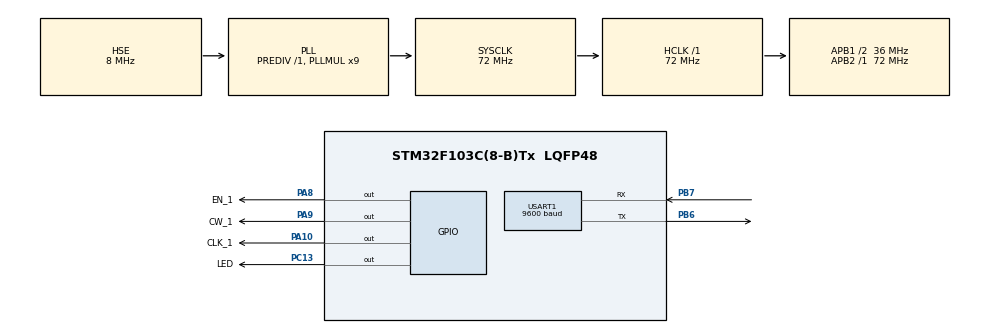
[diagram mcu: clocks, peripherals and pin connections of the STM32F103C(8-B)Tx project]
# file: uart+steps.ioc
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Mcu.Family=STM32F1
Mcu.Name=STM32F103C(8-B)Tx
Mcu.Package=LQFP48
NVIC.PriorityGroup=NVIC_PRIORITYGROUP_4
NVIC.USART1_IRQn=true\:0\:0\:false\:false\:true\:true\:true\:true
PA10.GPIO_Label=CLK_1
PA10.Signal=GPIO_Output
PA8.GPIO_Label=EN_1
PA8.Signal=GPIO_Output
PA9.GPIO_Label=CW_1
PA9.Signal=GPIO_Output
PB6.Mode=Asynchronous
PB6.Signal=USART1_TX
PB7.Mode=Asynchronous
PB7.Signal=USART1_RX
PC13-TAMPER-RTC.GPIO_Label=LED
PC13-TAMPER-RTC.Signal=GPIO_Output
PD0-OSC_IN.Mode=HSE-External-Oscillator
PD0-OSC_IN.Signal=RCC_OSC_IN
PD1-OSC_OUT.Mode=HSE-External-Oscillator
PD1-OSC_OUT.Signal=RCC_OSC_OUT
ProjectManager.HeapSize=0x200
ProjectManager.StackSize=0x400
ProjectManager.TargetToolchain=TrueSTUDIO
RCC.AHBFreq_Value=72000000
RCC.APB1CLKDivider=RCC_HCLK_DIV2
RCC.APB1Freq_Value=36000000
RCC.APB1TimFreq_Value=72000000
RCC.APB2Freq_Value=72000000
RCC.APB2TimFreq_Value=72000000
RCC.HCLKFreq_Value=72000000
RCC.PLLMUL=RCC_PLL_MUL9
RCC.PLLSourceVirtual=RCC_PLLSOURCE_HSE
RCC.SYSCLKFreq_VALUE=72000000
RCC.SYSCLKSource=RCC_SYSCLKSOURCE_PLLCLK
RCC.USBFreq_Value=72000000
USART1.BaudRate=9600
USART1.Parity=PARITY_EVEN
USART1.VirtualMode=VM_ASYNC
USART1.WordLength=WORDLENGTH_9B
VP_SYS_VS_ND.Mode=No_Debug
board=custom

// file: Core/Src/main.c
/* USER CODE BEGIN Header */
/**
  ******************************************************************************
  * @file           : main.c
  * @brief          : Main program body
  ******************************************************************************
  * @attention
  *
  * Copyright (c) 2022 STMicroelectronics.
  * All rights reserved.
  *
  * This software is licensed under terms that can be found in the LICENSE file
  * in the root directory of this software component.
  * If no LICENSE file comes with this software, it is provided AS-IS.
  *
  ******************************************************************************
  */
/* USER CODE END Header */
#include "main.h"

 UART_HandleTypeDef huart1;

/* USER CODE BEGIN PV */
uint8_t RxData[2];
/* USER CODE END PV */

void SystemClock_Config(void);
static void MX_GPIO_Init(void);
static void MX_USART1_UART_Init(void);

/* USER CODE BEGIN 0 */
void Stepper_motor(uint8_t Direction, uint8_t Steps)
{
	HAL_GPIO_WritePin(GPIOA,CW_1_Pin,GPIO_PIN_RESET);
	switch(Direction)
	{
	case 1:
		HAL_GPIO_WritePin(GPIOA,CW_1_Pin,GPIO_PIN_SET);
		break;
	default:
		HAL_GPIO_WritePin(GPIOA,CW_1_Pin,GPIO_PIN_RESET);
	}
	for (int i=0;i<=8*Steps;i=i+1)
	{
		HAL_GPIO_TogglePin(GPIOA,CLK_1_Pin);
		HAL_Delay(3);
	}
	HAL_GPIO_WritePin(GPIOA,CLK_1_Pin,GPIO_PIN_RESET);
	HAL_GPIO_WritePin(GPIOA,EN_1_Pin,GPIO_PIN_RESET);
}
/* USER CODE END 0 */

int main(void)
{

  /* MCU Configuration--------------------------------------------------------*/

  /* Reset of all peripherals, Initializes the Flash interface and the Systick. */
  HAL_Init();

  /* Configure the system clock */
  SystemClock_Config();

  /* Initialize all configured peripherals */
  MX_GPIO_Init();
  MX_USART1_UART_Init();
  /* USER CODE BEGIN 2 */
  /*
  HAL_GPIO_WritePin(GPIOA,EN_Pin,GPIO_PIN_SET);   //прием данных по uart ,пока что не используется
  if((HAL_UART_Receive_IT(&huart1,RxData,sizeof(RxData))==HAL_OK))
  	  {
  		  some code
  	  }
  */

  /* USER CODE END 2 */

  /* Infinite loop */
  while (1)
  {

    /* USER CODE BEGIN 3 */
	  RxData[0]=1;
	  RxData[1]=200;
	  Stepper_motor(RxData[0],RxData[1]);
	  RxData[1]=0;
	  HAL_Delay(3000);
	  RxData[0]=0;
	  RxData[1]=200;
	  Stepper_motor(RxData[0],RxData[1]);
	  RxData[1]=0;
	  HAL_Delay(3000);
  }
  /* USER CODE END 3 */
}

void SystemClock_Config(void)
{
  RCC_OscInitTypeDef RCC_OscInitStruct = {0};
  RCC_ClkInitTypeDef RCC_ClkInitStruct = {0};

  /** Initializes the RCC Oscillators according to the specified parameters
  * in the RCC_OscInitTypeDef structure.
  */
  RCC_OscInitStruct.OscillatorType = RCC_OSCILLATORTYPE_HSE;
  RCC_OscInitStruct.HSEState = RCC_HSE_ON;
  RCC_OscInitStruct.HSEPredivValue = RCC_HSE_PREDIV_DIV1;
  RCC_OscInitStruct.HSIState = RCC_HSI_ON;
  RCC_OscInitStruct.PLL.PLLState = RCC_PLL_ON;
  RCC_OscInitStruct.PLL.PLLSource = RCC_PLLSOURCE_HSE;
  RCC_OscInitStruct.PLL.PLLMUL = RCC_PLL_MUL9;
  if (HAL_RCC_OscConfig(&RCC_OscInitStruct) != HAL_OK)
  {
    Error_Handler();
  }

  /** Initializes the CPU, AHB and APB buses clocks
  */
  RCC_ClkInitStruct.ClockType = RCC_CLOCKTYPE_HCLK|RCC_CLOCKTYPE_SYSCLK
                              |RCC_CLOCKTYPE_PCLK1|RCC_CLOCKTYPE_PCLK2;
  RCC_ClkInitStruct.SYSCLKSource = RCC_SYSCLKSOURCE_PLLCLK;
  RCC_ClkInitStruct.AHBCLKDivider = RCC_SYSCLK_DIV1;
  RCC_ClkInitStruct.APB1CLKDivider = RCC_HCLK_DIV2;
  RCC_ClkInitStruct.APB2CLKDivider = RCC_HCLK_DIV1;

  if (HAL_RCC_ClockConfig(&RCC_ClkInitStruct, FLASH_LATENCY_2) != HAL_OK)
  {
    Error_Handler();
  }
}

static void MX_USART1_UART_Init(void)
{

  huart1.Instance = USART1;
  huart1.Init.BaudRate = 9600;
  huart1.Init.WordLength = UART_WORDLENGTH_9B;
  huart1.Init.StopBits = UART_STOPBITS_1;
  huart1.Init.Parity = UART_PARITY_EVEN;
  huart1.Init.Mode = UART_MODE_TX_RX;
  huart1.Init.HwFlowCtl = UART_HWCONTROL_NONE;
  huart1.Init.OverSampling = UART_OVERSAMPLING_16;
  if (HAL_UART_Init(&huart1) != HAL_OK)
  {
    Error_Handler();
  }

}

static void MX_GPIO_Init(void)
{
  GPIO_InitTypeDef GPIO_InitStruct = {0};

  /* GPIO Ports Clock Enable */
  __HAL_RCC_GPIOC_CLK_ENABLE();
  __HAL_RCC_GPIOD_CLK_ENABLE();
  __HAL_RCC_GPIOA_CLK_ENABLE();
  __HAL_RCC_GPIOB_CLK_ENABLE();

  /*Configure GPIO pin Output Level */
  HAL_GPIO_WritePin(LED_GPIO_Port, LED_Pin, GPIO_PIN_RESET);

  /*Configure GPIO pin Output Level */
  HAL_GPIO_WritePin(GPIOA, EN_1_Pin|CW_1_Pin|CLK_1_Pin, GPIO_PIN_RESET);

  /*Configure GPIO pin : LED_Pin */
  GPIO_InitStruct.Pin = LED_Pin;
  GPIO_InitStruct.Mode = GPIO_MODE_OUTPUT_PP;
  GPIO_InitStruct.Pull = GPIO_NOPULL;
  GPIO_InitStruct.Speed = GPIO_SPEED_FREQ_LOW;
  HAL_GPIO_Init(LED_GPIO_Port, &GPIO_InitStruct);

  /*Configure GPIO pins : EN_1_Pin CW_1_Pin CLK_1_Pin */
  GPIO_InitStruct.Pin = EN_1_Pin|CW_1_Pin|CLK_1_Pin;
  GPIO_InitStruct.Mode = GPIO_MODE_OUTPUT_PP;
  GPIO_InitStruct.Pull = GPIO_NOPULL;
  GPIO_InitStruct.Speed = GPIO_SPEED_FREQ_LOW;
  HAL_GPIO_Init(GPIOA, &GPIO_InitStruct);

}

void Error_Handler(void)
{
  __disable_irq();
  while (1)
  {
  }
}
